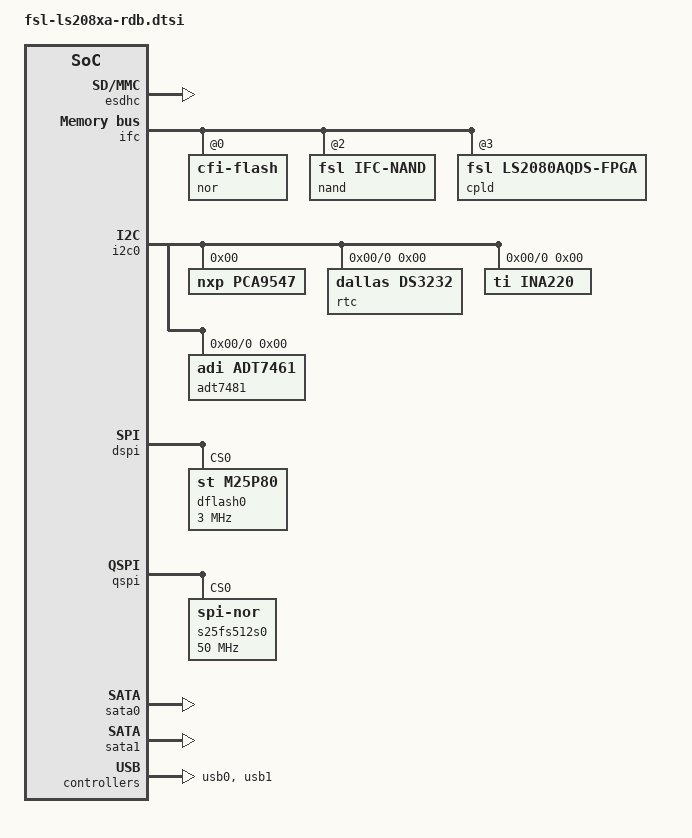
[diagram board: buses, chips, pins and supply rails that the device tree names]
// SPDX-License-Identifier: (GPL-2.0+ OR MIT)
/*
 * Device Tree file for Freescale LS2080A RDB Board.
 *
 * Copyright 2016 Freescale Semiconductor, Inc.
 * Copyright 2017 NXP
 *
 * Abhimanyu Saini <abhimanyu.saini@nxp.com>
 *
 */

&esdhc {
	status = "okay";
};

&ifc {
	status = "okay";
	#address-cells = <2>;
	#size-cells = <1>;
	ranges = <0x0 0x0 0x5 0x80000000 0x08000000
		  0x2 0x0 0x5 0x30000000 0x00010000
		  0x3 0x0 0x5 0x20000000 0x00010000>;

	nor@0,0 {
		#address-cells = <1>;
		#size-cells = <1>;
		compatible = "cfi-flash";
		reg = <0x0 0x0 0x8000000>;
		bank-width = <2>;
		device-width = <1>;
	};

	nand@2,0 {
	     compatible = "fsl,ifc-nand";
	     reg = <0x2 0x0 0x10000>;
	};

	cpld@3,0 {
	     reg = <0x3 0x0 0x10000>;
	     compatible = "fsl,ls2080aqds-fpga", "fsl,fpga-qixis";
	};

};

&i2c0 {
	status = "okay";
	pca9547@75 {
		compatible = "nxp,pca9547";
		reg = <0 0x75 0 0x1>;
		#address-cells = <1>;
		#size-cells = <0>;
		i2c@1 {
			#address-cells = <1>;
			#size-cells = <0>;
			reg = <0 0x01 0 0x1>;
			rtc@68 {
				compatible = "dallas,ds3232";
				reg = <0 0x68 0 0x1>;
			};
		};

		i2c@2 {
			#address-cells = <1>;
			#size-cells = <0>;
			reg = <0 0x02 0 0x1>;

			ina220@40 {
				compatible = "ti,ina220";
				reg = <0 0x40 0 0x1>;
				shunt-resistor = <500>;
			};
		};

		i2c@3 {
			#address-cells = <1>;
			#size-cells = <0>;
			reg = <0 0x3 0 0x1>;

			adt7481@4c {
				compatible = "adi,adt7461";
				reg = <0 0x4c 0 0x1>;
			};
		};
	};
};

&i2c1 {
	status = "disabled";
};

&i2c2 {
	status = "disabled";
};

&i2c3 {
	status = "disabled";
};

&dspi {
	status = "okay";
	dflash0: n25q512a@0 {
		#address-cells = <1>;
		#size-cells = <1>;
		compatible = "st,m25p80";
		spi-max-frequency = <3000000>;
		reg = <0>;
	};
};

&qspi {
	status = "okay";

	s25fs512s0: flash@0 {
		#address-cells = <1>;
		#size-cells = <1>;
		compatible = "jedec,spi-nor";
		spi-max-frequency = <50000000>;
		reg = <0>;
	};
};

&sata0 {
	status = "okay";
};

&sata1 {
	status = "okay";
};

&usb0 {
	status = "okay";
};

&usb1 {
	status = "okay";
};
